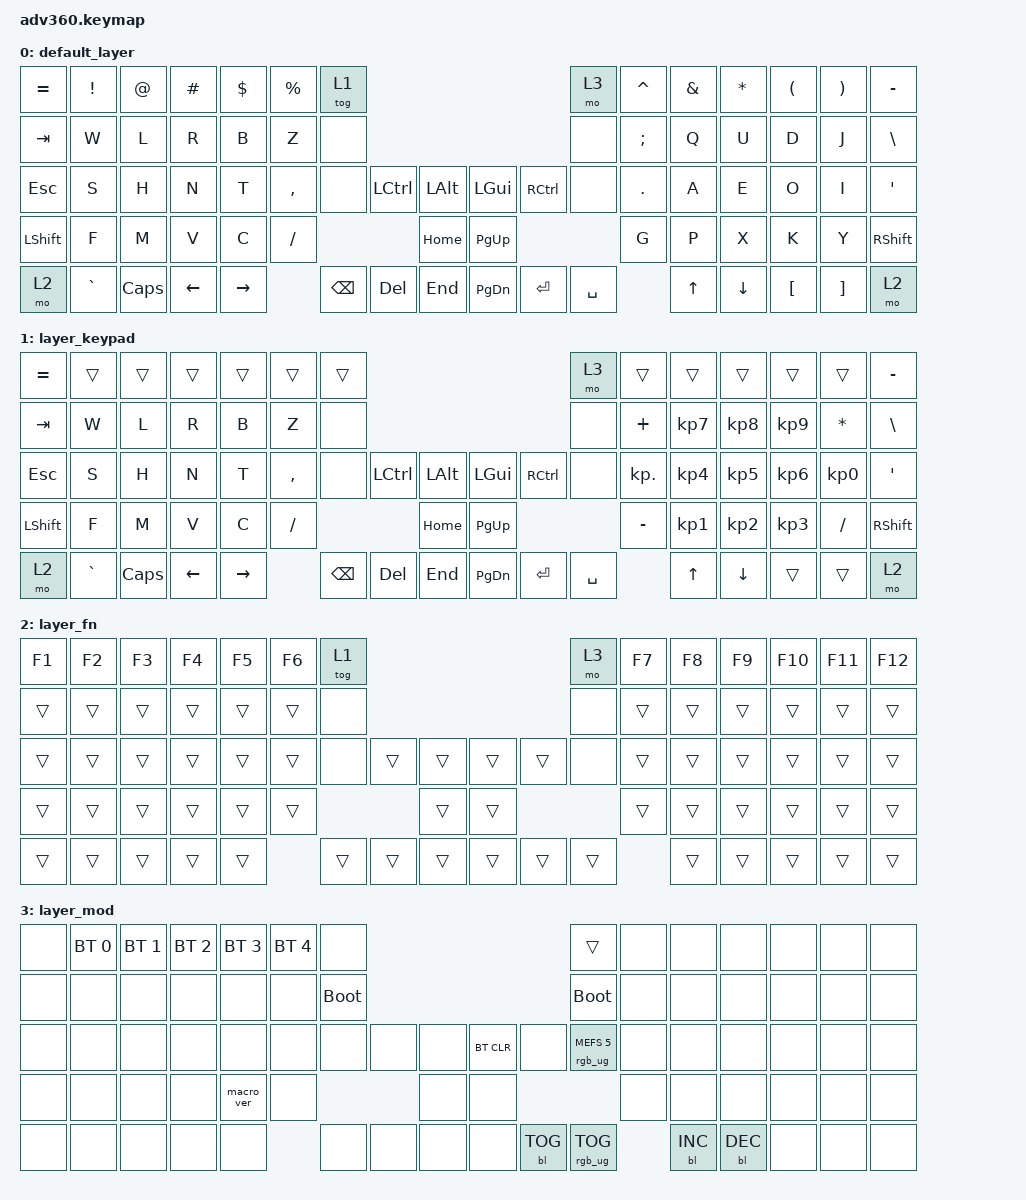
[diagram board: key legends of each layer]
/*
 * Copyright (c) 2020 The ZMK Contributors
 *
 * SPDX-License-Identifier: MIT
 */
/* THIS FILE WAS GENERATED!
 *
 * This file was generated automatically. You may or may not want to
 * edit it directly.
 */

#include <behaviors.dtsi>
#include <dt-bindings/zmk/backlight.h>
#include <dt-bindings/zmk/bt.h>
#include <dt-bindings/zmk/keys.h>
#include <dt-bindings/zmk/rgb.h>

/ {
    behaviors {
        #include "macros.dtsi"
    #include "version.dtsi"

        hm: homerow_mods {
            compatible = "zmk,behavior-hold-tap";
            label = "HOMEROW_MODS";
            #binding-cells = <2>;
            tapping-term-ms = <200>;
            quick_tap_ms = <175>;
            flavor = "tap-preferred";
            bindings = <&kp>, <&kp>;
        };
    };

    keymap {
        compatible = "zmk,keymap";

        default_layer {
            bindings = <
&kp EQUAL  &kp EXCLAMATION  &kp AT_SIGN  &kp HASH  &kp DOLLAR  &kp PERCENT  &tog 1                                                   &mo 3      &kp CARET      &kp AMPERSAND  &kp ASTERISK  &kp LEFT_PARENTHESIS  &kp RIGHT_PARENTHESIS  &kp MINUS
&kp TAB    &kp W            &kp L        &kp R     &kp B       &kp Z        &none                                                    &none      &kp SEMICOLON  &kp Q          &kp U         &kp D                 &kp J                  &kp BSLH
&kp ESC    &kp S            &kp H        &kp N     &kp T       &kp COMMA    &none     &kp LCTRL  &kp LALT      &kp LGUI   &kp RCTRL  &none      &kp DOT        &kp A          &kp E         &kp O                 &kp I                  &kp SQT
&kp LSHFT  &kp F            &kp M        &kp V     &kp C       &kp FSLH                          &kp HOME      &kp PG_UP                        &kp G          &kp P          &kp X         &kp K                 &kp Y                  &kp RSHFT
&mo 2      &kp GRAVE        &kp CAPS     &kp LEFT  &kp RIGHT                &kp BSPC  &kp DEL    &kp END       &kp PG_DN  &kp ENTER  &kp SPACE                 &kp UP         &kp DOWN      &kp LBKT              &kp RBKT               &mo 2
            >;
        };

        layer_keypad {
            bindings = <
&kp EQUAL  &trans     &trans    &trans    &trans     &trans     &trans                                                   &mo 3      &trans      &trans     &trans     &trans     &trans           &kp MINUS
&kp TAB    &kp W      &kp L     &kp R     &kp B      &kp Z      &none                                                    &none      &kp PLUS    &kp KP_N7  &kp KP_N8  &kp KP_N9  &kp ASTERISK     &kp BSLH
&kp ESC    &kp S      &kp H     &kp N     &kp T      &kp COMMA  &none     &kp LCTRL  &kp LALT      &kp LGUI   &kp RCTRL  &none      &kp KP_DOT  &kp KP_N4  &kp KP_N5  &kp KP_N6  &kp KP_NUMBER_0  &kp SQT
&kp LSHFT  &kp F      &kp M     &kp V     &kp C      &kp FSLH                        &kp HOME      &kp PG_UP                        &kp MINUS   &kp KP_N1  &kp KP_N2  &kp KP_N3  &kp SLASH        &kp RSHFT
&mo 2      &kp GRAVE  &kp CAPS  &kp LEFT  &kp RIGHT             &kp BSPC  &kp DEL    &kp END       &kp PG_DN  &kp ENTER  &kp SPACE              &kp UP     &kp DOWN   &trans     &trans           &mo 2
            >;
        };

        layer_fn {
            bindings = <
&kp F1  &kp F2  &kp F3  &kp F4  &kp F5  &kp F6  &tog 1                                      &mo 3   &kp F7  &kp F8  &kp F9  &kp F10  &kp F11  &kp F12
&trans  &trans  &trans  &trans  &trans  &trans  &none                                       &none   &trans  &trans  &trans  &trans   &trans   &trans
&trans  &trans  &trans  &trans  &trans  &trans  &none   &trans  &trans      &trans  &trans  &none   &trans  &trans  &trans  &trans   &trans   &trans
&trans  &trans  &trans  &trans  &trans  &trans                  &trans      &trans                  &trans  &trans  &trans  &trans   &trans   &trans
&trans  &trans  &trans  &trans  &trans          &trans  &trans  &trans      &trans  &trans  &trans          &trans  &trans  &trans   &trans   &trans
            >;
        };

        layer_mod {
            bindings = <
&none  &bt BT_SEL 0  &bt BT_SEL 1  &bt BT_SEL 2  &bt BT_SEL 3  &bt BT_SEL 4  &none                                                  &trans                  &none  &none       &none       &none  &none  &none
&none  &none         &none         &none         &none         &none         &bootloader                                            &bootloader             &none  &none       &none       &none  &none  &none
&none  &none         &none         &none         &none         &none         &none        &none  &none      &bt BT_CLR  &none       &rgb_ug RGB_MEFS_CMD 5  &none  &none       &none       &none  &none  &none
&none  &none         &none         &none         &macro_ver    &none                             &none      &none                                           &none  &none       &none       &none  &none  &none
&none  &none         &none         &none         &none                       &none        &none  &none      &none       &bl BL_TOG  &rgb_ug RGB_TOG                &bl BL_INC  &bl BL_DEC  &none  &none  &none
            >;
        };
    };
};
